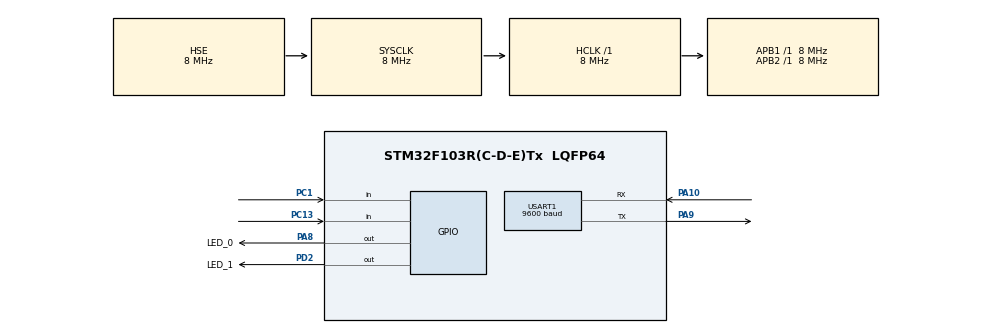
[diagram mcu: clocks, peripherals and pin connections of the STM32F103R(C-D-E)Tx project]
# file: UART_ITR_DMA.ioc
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Mcu.Family=STM32F1
Mcu.Name=STM32F103R(C-D-E)Tx
Mcu.Package=LQFP64
NVIC.PriorityGroup=NVIC_PRIORITYGROUP_4
NVIC.TIM1_UP_IRQn=true\:15\:0\:false\:false\:true\:false\:true\:true
NVIC.TimeBase=TIM1_UP_IRQn
NVIC.TimeBaseIP=TIM1
NVIC.USART1_IRQn=true\:0\:0\:false\:false\:true\:true\:true\:true
PA10.Mode=Asynchronous
PA10.Signal=USART1_RX
PA13.Mode=JTAG_4_pins
PA13.Signal=SYS_JTMS-SWDIO
PA14.Mode=JTAG_4_pins
PA14.Signal=SYS_JTCK-SWCLK
PA15.Mode=JTAG_4_pins
PA15.Signal=SYS_JTDI
PA8.GPIO_Label=LED_0
PA8.GPIO_PuPd=GPIO_PULLUP
PA8.Signal=GPIO_Output
PA9.Mode=Asynchronous
PA9.Signal=USART1_TX
PB3.Mode=JTAG_4_pins
PB3.Signal=SYS_JTDO-TRACESWO
PC1.GPIO_PuPd=GPIO_PULLUP
PC1.Signal=GPIO_Input
PC13-TAMPER-RTC.GPIO_PuPd=GPIO_PULLUP
PC13-TAMPER-RTC.Signal=GPIO_Input
PD0-OSC_IN.Mode=HSE-External-Oscillator
PD0-OSC_IN.Signal=RCC_OSC_IN
PD1-OSC_OUT.Mode=HSE-External-Oscillator
PD1-OSC_OUT.Signal=RCC_OSC_OUT
PD2.GPIO_Label=LED_1
PD2.GPIO_PuPd=GPIO_PULLUP
PD2.Signal=GPIO_Output
ProjectManager.HeapSize=0x200
ProjectManager.StackSize=0x400
ProjectManager.TargetToolchain=EWARM V8.32
RCC.AHBFreq_Value=8000000
RCC.APB1Freq_Value=8000000
RCC.APB1TimFreq_Value=8000000
RCC.APB2Freq_Value=8000000
RCC.APB2TimFreq_Value=8000000
RCC.HCLKFreq_Value=8000000
RCC.PLLSourceVirtual=RCC_PLLSOURCE_HSE
RCC.SYSCLKFreq_VALUE=8000000
RCC.SYSCLKSource=RCC_SYSCLKSOURCE_HSE
RCC.USBFreq_Value=16000000
USART1.BaudRate=9600
USART1.VirtualMode=VM_ASYNC
VP_SYS_VS_tim1.Mode=TIM1
board=custom

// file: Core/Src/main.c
/* USER CODE BEGIN Header */
/**
  ******************************************************************************
  * @file           : main.c
  * @brief          : Main program body
  ******************************************************************************
  * @attention
  *
  * Copyright (c) 2024 STMicroelectronics.
  * All rights reserved.
  *
  * This software is licensed under terms that can be found in the LICENSE file
  * in the root directory of this software component.
  * If no LICENSE file comes with this software, it is provided AS-IS.
  *
  ******************************************************************************
  */
/* USER CODE END Header */
#include "main.h"

/* USER CODE BEGIN Includes */
#include <stdarg.h>
/* USER CODE END Includes */

UART_HandleTypeDef huart1;

void SystemClock_Config(void);
static void MX_GPIO_Init(void);
static void MX_USART1_UART_Init(void);
/* USER CODE BEGIN PFP */
void DBG(char *cData,...)
{
  char str[80];

	/*Extract the the argument list using VA apis */
	va_list args;
	va_start(args, cData);
	vsprintf(str, cData,args);
	HAL_UART_Transmit(&huart1,(uint8_t *)str, strlen(str),HAL_MAX_DELAY);
	va_end(args);
}
/* USER CODE END PFP */

/* USER CODE BEGIN 0 */
char *cBootString = "Booting system ...!\n\r";
#define AppAdreess 0x08004000
typedef void (*pFunc)(void);

void JumtoApp()
{
  HAL_DeInit();
  uint32_t msp_value = *(volatile uint32_t *)FLASH_SECTOR2_BASE_ADDRESS;
  __set_MSP(msp_value);

  uint32_t resethandler_address = *(volatile uint32_t *) (FLASH_SECTOR2_BASE_ADDRESS + 4);
  pFunc jum = (pFunc) resethandler_address;
  jum();
}
/* USER CODE END 0 */

int main(void)
{

  /* MCU Configuration--------------------------------------------------------*/

  /* Reset of all peripherals, Initializes the Flash interface and the Systick. */
  HAL_Init();

  /* Configure the system clock */
  SystemClock_Config();

  /* Initialize all configured peripherals */
  MX_GPIO_Init();
  MX_USART1_UART_Init();

  /* Infinite loop */
  while (1)
  {

    /* USER CODE BEGIN 3 */
       //HAL_UART_Transmit(&huart1, (uint8_t *)"Application Run", 15, HAL_MAX_DELAY);
       //HAL_Delay(100);
    for (uint8_t i = 0; i < 100; i++)
    {

        while(HAL_GPIO_ReadPin(GPIOC, GPIO_PIN_1) == 0 || i>=10)
        {
          DBG("Entering application !:\r\n");
          JumtoApp();

        }
      DBG("Waiting for enter user application !: %d\r\n",i );
      HAL_Delay(1000);
    }

  }
  /* USER CODE END 3 */
}

void SystemClock_Config(void)
{
  RCC_OscInitTypeDef RCC_OscInitStruct = {0};
  RCC_ClkInitTypeDef RCC_ClkInitStruct = {0};

  /** Initializes the RCC Oscillators according to the specified parameters
  * in the RCC_OscInitTypeDef structure.
  */
  RCC_OscInitStruct.OscillatorType = RCC_OSCILLATORTYPE_HSE;
  RCC_OscInitStruct.HSEState = RCC_HSE_ON;
  RCC_OscInitStruct.PLL.PLLState = RCC_PLL_NONE;
  if (HAL_RCC_OscConfig(&RCC_OscInitStruct) != HAL_OK)
  {
    Error_Handler();
  }

  /** Initializes the CPU, AHB and APB buses clocks
  */
  RCC_ClkInitStruct.ClockType = RCC_CLOCKTYPE_HCLK|RCC_CLOCKTYPE_SYSCLK
                              |RCC_CLOCKTYPE_PCLK1|RCC_CLOCKTYPE_PCLK2;
  RCC_ClkInitStruct.SYSCLKSource = RCC_SYSCLKSOURCE_HSE;
  RCC_ClkInitStruct.AHBCLKDivider = RCC_SYSCLK_DIV1;
  RCC_ClkInitStruct.APB1CLKDivider = RCC_HCLK_DIV1;
  RCC_ClkInitStruct.APB2CLKDivider = RCC_HCLK_DIV1;

  if (HAL_RCC_ClockConfig(&RCC_ClkInitStruct, FLASH_LATENCY_0) != HAL_OK)
  {
    Error_Handler();
  }
}

static void MX_USART1_UART_Init(void)
{

  huart1.Instance = USART1;
  huart1.Init.BaudRate = 9600;
  huart1.Init.WordLength = UART_WORDLENGTH_8B;
  huart1.Init.StopBits = UART_STOPBITS_1;
  huart1.Init.Parity = UART_PARITY_NONE;
  huart1.Init.Mode = UART_MODE_TX_RX;
  huart1.Init.HwFlowCtl = UART_HWCONTROL_NONE;
  huart1.Init.OverSampling = UART_OVERSAMPLING_16;
  if (HAL_UART_Init(&huart1) != HAL_OK)
  {
    Error_Handler();
  }

}

static void MX_GPIO_Init(void)
{
  GPIO_InitTypeDef GPIO_InitStruct = {0};

  /* GPIO Ports Clock Enable */
  __HAL_RCC_GPIOC_CLK_ENABLE();
  __HAL_RCC_GPIOD_CLK_ENABLE();
  __HAL_RCC_GPIOA_CLK_ENABLE();
  __HAL_RCC_GPIOB_CLK_ENABLE();

  /*Configure GPIO pin Output Level */
  HAL_GPIO_WritePin(LED_0_GPIO_Port, LED_0_Pin, GPIO_PIN_RESET);

  /*Configure GPIO pin Output Level */
  HAL_GPIO_WritePin(LED_1_GPIO_Port, LED_1_Pin, GPIO_PIN_RESET);

  /*Configure GPIO pins : PC13 PC1 */
  GPIO_InitStruct.Pin = GPIO_PIN_13|GPIO_PIN_1;
  GPIO_InitStruct.Mode = GPIO_MODE_INPUT;
  GPIO_InitStruct.Pull = GPIO_PULLUP;
  HAL_GPIO_Init(GPIOC, &GPIO_InitStruct);

  /*Configure GPIO pin : LED_0_Pin */
  GPIO_InitStruct.Pin = LED_0_Pin;
  GPIO_InitStruct.Mode = GPIO_MODE_OUTPUT_PP;
  GPIO_InitStruct.Pull = GPIO_PULLUP;
  GPIO_InitStruct.Speed = GPIO_SPEED_FREQ_LOW;
  HAL_GPIO_Init(LED_0_GPIO_Port, &GPIO_InitStruct);

  /*Configure GPIO pin : LED_1_Pin */
  GPIO_InitStruct.Pin = LED_1_Pin;
  GPIO_InitStruct.Mode = GPIO_MODE_OUTPUT_PP;
  GPIO_InitStruct.Pull = GPIO_PULLUP;
  GPIO_InitStruct.Speed = GPIO_SPEED_FREQ_LOW;
  HAL_GPIO_Init(LED_1_GPIO_Port, &GPIO_InitStruct);

}

void HAL_TIM_PeriodElapsedCallback(TIM_HandleTypeDef *htim)
{
  if (htim->Instance == TIM1) {
    HAL_IncTick();
  }
}

void Error_Handler(void)
{
  __disable_irq();
  while (1)
  {
  }
}
